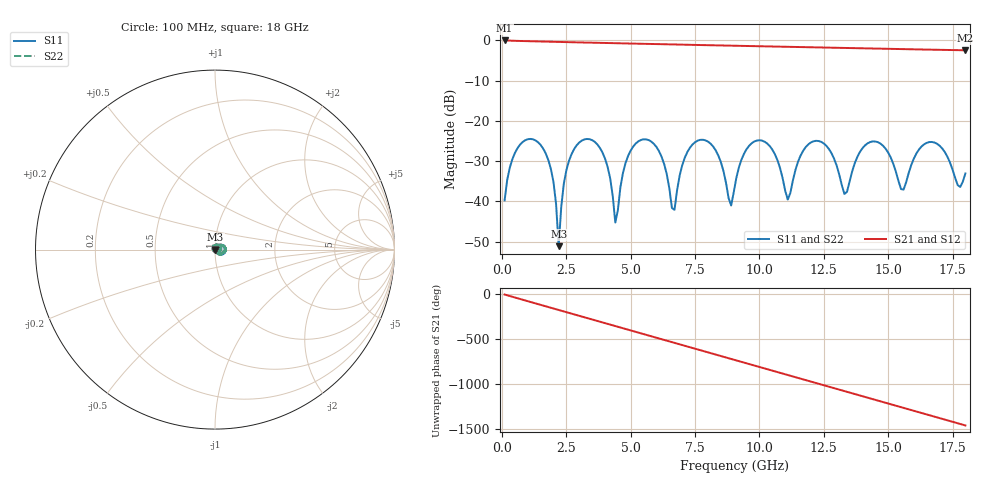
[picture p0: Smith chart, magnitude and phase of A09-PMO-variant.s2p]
! yapnr rf coupon A: A09 P-MO (variant, family P-MO)
! stackup JLC04161H-7628, nominal parameters; reference planes 10 mm from each end; 50 ohm (renormalized from the line's Zc)
! model: 2D quasi-static RLGC (Djordjevic-Sarkar, Huray roughness, Wheeler loss); generated by python -m yapnr.rf.coupons expected
# GHz S DB R 50
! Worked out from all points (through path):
!   180 points, 100 MHz to 18 GHz, reference 50 ohm
!   highest |S21| = -0.04 dB at 100 MHz (marker M1); lowest = -2.5 dB at 18 GHz (marker M2)
!   group delay of S21, straight-line fit = 225 ps
!   lowest |S11| = -51.2 dB at 2.2 GHz (marker M3), VSWR 1.01, Z = 50.3 - j0.0356 ohm
!   |S11| at or under -10 dB: start of sweep to end of sweep
!   |S22| runs from -51.2 to -24.5 dB; largest |S21 - S12| = 0
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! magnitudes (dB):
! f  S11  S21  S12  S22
! 100 MHz  -39.8  0.0  0.0  -39.8
! 600 MHz  -26.8  -0.2  -0.2  -26.8
! 1.4 GHz  -25.3  -0.3  -0.3  -25.3
! 1.9 GHz  -32.0  -0.4  -0.4  -32.0
! 2.2 GHz  -51.2  -0.4  -0.4  -51.2
! 2.5 GHz  -32.3  -0.4  -0.4  -32.3
! 3.1 GHz  -24.9  -0.5  -0.5  -24.9
! 4 GHz  -29.4  -0.7  -0.7  -29.4
! 4.4 GHz  -45.3  -0.7  -0.7  -45.3
! 5 GHz  -27.4  -0.8  -0.8  -27.4
! 6.1 GHz  -27.6  -1.0  -1.0  -27.6
! 6.7 GHz  -42.1  -1.0  -1.0  -42.1
! 7.6 GHz  -24.9  -1.2  -1.2  -24.9
! 8.9 GHz  -41.0  -1.3  -1.3  -41.0
! 9.1 GHz  -34.3  -1.4  -1.4  -34.3
! 10.1 GHz  -24.9  -1.5  -1.5  -24.9
! 11.1 GHz  -39.6  -1.6  -1.6  -39.6
! 12.1 GHz  -25.1  -1.8  -1.8  -25.1
! 13.3 GHz  -38.2  -1.9  -1.9  -38.2
! 14.2 GHz  -25.6  -2.0  -2.0  -25.6
! 15.1 GHz  -29.1  -2.1  -2.1  -29.1
! 18 GHz  -33.1  -2.5  -2.5  -33.1
